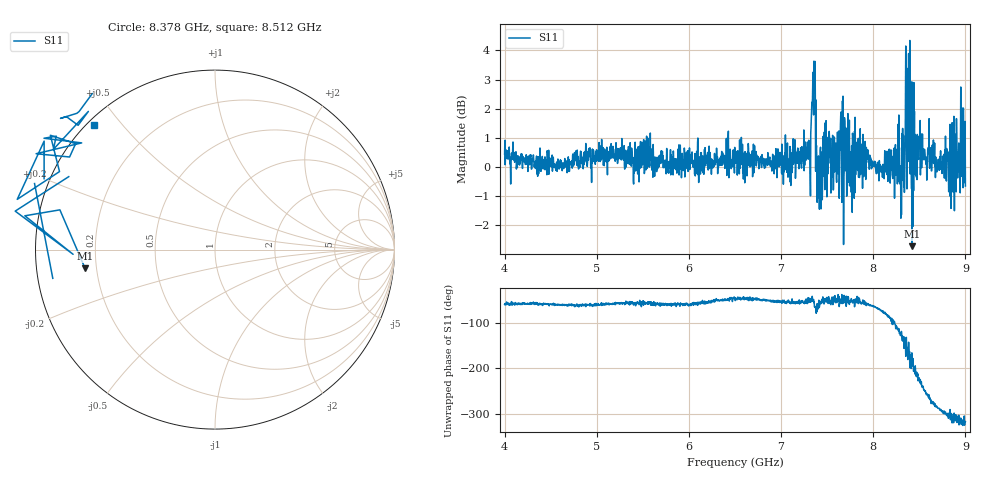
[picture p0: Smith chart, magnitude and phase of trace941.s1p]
! Created with skrf 1.8.0 (http://scikit-rf.org).
# Hz S RI R 50.0
!freq ReS11 ImS11
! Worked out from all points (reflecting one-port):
!   1601 points, 4 GHz to 9 GHz, reference 50 ohm
!   lowest |S11| = -2.7 dB at 8.422 GHz (marker M1), VSWR 6.45, Z = 7.79 - j3.48 ohm
!   phase of S11 starts at -59 deg and turns -259 deg over the sweep
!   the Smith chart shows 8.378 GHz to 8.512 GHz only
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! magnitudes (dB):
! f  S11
! 4 GHz  0.4
! 4.625 GHz  -0.1
! 5.25 GHz  0.3
! 5.875 GHz  0.2
! 6.5 GHz  0.3
! 7.125 GHz  0.6
! 7.294 GHz  0.3
! 7.347 GHz  3.3
! 7.362 GHz  3.4
! 7.397 GHz  -1.1
! 7.412 GHz  -0.5
! 7.466 GHz  0.6
! 7.591 GHz  0.4
! 7.65 GHz  1.9
! 7.703 GHz  0.0
! 7.75 GHz  0.5
! 7.828 GHz  0.3
! 8.097 GHz  0.0
! 8.259 GHz  0.3
! 8.316 GHz  0.0
! 8.334 GHz  0.8
! 8.375 GHz  1.2
! 8.422 GHz  -2.7
! 8.447 GHz  1.9
! 8.497 GHz  1.1
! 8.694 GHz  0.0
! 8.972 GHz  0.4
! 9 GHz  -0.7
